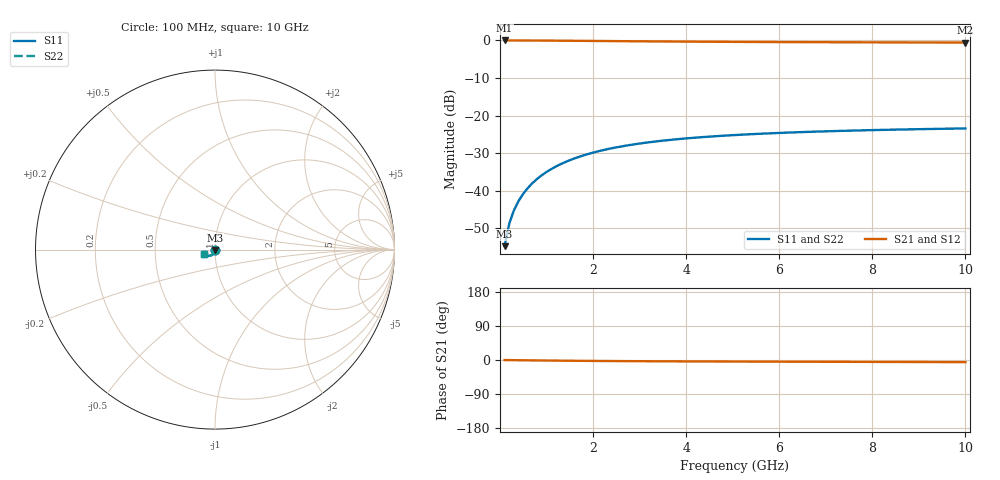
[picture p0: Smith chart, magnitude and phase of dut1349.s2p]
! Touchstone file exported from HFSS 2024.1.0
!  File:  C:/UserFiles/LocalFiles/RDL_TSV_Batchsim/temp_TSV1_1349_1780377117.aedt
!  Generated:  01:18:34 PM Jun  2, 2026
!  Design:  TSV1
!  Project:  temp_TSV1_1349_1780377117
!  Setup:  Setup1
!  Solution:  Sweep
! Variables:
!  dtsv = 13.34um
!  hbump = 3um
!  htsv = 86.1um
!  lrdl = 252.1521522um
!  p = 40
!  p1 = 44.9um
!  t = 500um
!  trdl = 3um
!  wrdl = 24.89489489um
# GHz S MA R 50.000000
! Terminal data exported
! Port[1] = TSV22_T1
! Port[2] = TSV22_T2
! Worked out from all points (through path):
!   100 points, 100 MHz to 10 GHz, reference 50 ohm
!   highest |S21| = 0.00 dB at 100 MHz (marker M1); lowest = -0.6 dB at 10 GHz (marker M2)
!   lowest |S11| = -54.7 dB at 100 MHz (marker M3), VSWR 1.00, Z = 50 - j0.183 ohm
!   |S11| at or under -10 dB: start of sweep to end of sweep
!   |S22| runs from -54.7 to -23.4 dB; largest |S21 - S12| = 2.1e-15
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0.1  0.001832 -88.6  0.9999 -0.1  0.9999 -0.1  0.001832 -88.6
! Gamma 0 0 0 0
! Port Impedance 50 0 50 0
0.2  0.003662 -91.5  0.9997 -0.3  0.9997 -0.3  0.003662 -91.5
0.3  0.005492 -93.4  0.9994 -0.4  0.9994 -0.4  0.005492 -93.4
0.4  0.007314 -95.2  0.999 -0.6  0.999 -0.6  0.007314 -95.2
0.5  0.009122 -96.9  0.9986 -0.7  0.9986 -0.7  0.009122 -96.9
0.6  0.01091 -98.5  0.9981 -0.9  0.9981 -0.9  0.01091 -98.5
0.7  0.01267 -100.1  0.9974 -1.0  0.9974 -1.0  0.01267 -100.1
0.8  0.0144 -101.7  0.9968 -1.1  0.9968 -1.1  0.0144 -101.7
0.9  0.01611 -103.3  0.996 -1.3  0.996 -1.3  0.01611 -103.3
1.1  0.0194 -106.2  0.9943 -1.5  0.9943 -1.5  0.0194 -106.2
1.4  0.02404 -110.4  0.9914 -1.9  0.9914 -1.9  0.02404 -110.4
1.6  0.02692 -113.1  0.9893 -2.1  0.9893 -2.1  0.02692 -113.1
1.8  0.02963 -115.6  0.9872 -2.3  0.9872 -2.3  0.02963 -115.6
2.1  0.03337 -119.1  0.9838 -2.5  0.9838 -2.5  0.03337 -119.1
2.5  0.03779 -123.3  0.9794 -2.8  0.9794 -2.8  0.03779 -123.3
2.9  0.04161 -127.1  0.9752 -3.1  0.9752 -3.1  0.04161 -127.1
3.4  0.04568 -131.3  0.9703 -3.4  0.9703 -3.4  0.04568 -131.3
4.2  0.0509 -136.8  0.9634 -3.8  0.9634 -3.8  0.0509 -136.8
5.1  0.05537 -141.7  0.9571 -4.1  0.9571 -4.1  0.05537 -141.7
6.7  0.06097 -148.4  0.9487 -4.6  0.9487 -4.6  0.06097 -148.4
8.4  0.06491 -153.6  0.9424 -5.1  0.9424 -5.1  0.06491 -153.6
10  0.06749 -157.3  0.9382 -5.6  0.9382 -5.6  0.06749 -157.3
